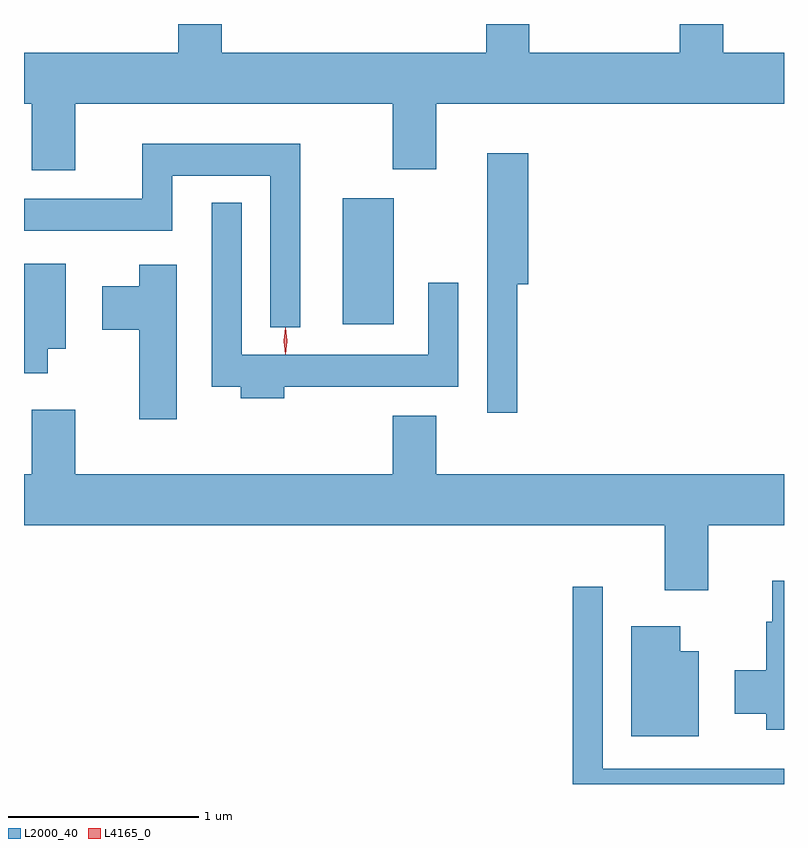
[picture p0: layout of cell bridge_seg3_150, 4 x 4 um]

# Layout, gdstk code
import gdstk
lib = gdstk.Library(unit=1e-6, precision=1e-09)
def R(c, l, rs):  # rectangles x0, y0, x1, y1
    for r in rs: c.add(gdstk.rectangle(r[:2], r[2:], *l))
def P(c, l, *ps):  # polygons
    for p in ps: c.add(gdstk.Polygon(p, *l))
L2000_40 = (2000, 40)
L4165_0 = (4165, 0)

bridge_seg3_150 = lib.new_cell('bridge_seg3_150')
R(bridge_seg3_150, L2000_40, [(877.926,1189.236,878.194,1189.899)])
P(bridge_seg3_150, L2000_40, [(876.249,1190.396),(876.291,1190.396),(876.291,1190.046),(876.519,1190.046),(876.519,1190.396),(878.191,1190.396),(878.191,1190.051),(878.419,1190.051),(878.419,1190.396),(880.249,1190.396),(880.249,1190.664),(879.929,1190.664),(879.929,1190.815),(879.701,1190.815),(879.701,1190.664),(878.909,1190.664),(878.909,1190.815),(878.681,1190.815),(878.681,1190.664),(877.289,1190.664),(877.289,1190.815),(877.061,1190.815),(877.061,1190.664),(876.249,1190.664)],
  [(877.704,1190.184),(876.871,1190.184),(876.871,1189.894),(876.249,1189.894),(876.249,1189.726),(877.029,1189.726),(877.029,1190.016),(877.546,1190.016),(877.546,1189.218),(877.704,1189.218)],
  [(878.844,1189.446),(878.904,1189.446),(878.904,1190.134),(878.686,1190.134),(878.686,1188.768),(878.844,1188.768)],
  [(877.619,1188.906),(878.534,1188.906),(878.534,1189.453),(878.376,1189.453),(878.376,1189.074),(877.394,1189.074),(877.394,1189.873),(877.236,1189.873),(877.236,1188.906),(877.391,1188.906),(877.391,1188.846),(877.619,1188.846)],
  [(876.374,1189.106),(876.469,1189.106),(876.469,1189.554),(876.249,1189.554),(876.249,1188.976),(876.374,1188.976)],
  [(877.054,1189.549),(876.856,1189.549),(876.856,1189.434),(876.661,1189.434),(876.661,1189.206),(876.856,1189.206),(876.856,1188.736),(877.054,1188.736)],
  [(879.849,1188.176),(880.249,1188.176),(880.249,1188.444),(878.419,1188.444),(878.419,1188.754),(878.191,1188.754),(878.191,1188.444),(876.519,1188.444),(876.519,1188.784),(876.291,1188.784),(876.291,1188.444),(876.249,1188.444),(876.249,1188.176),(879.621,1188.176),(879.621,1187.836),(879.849,1187.836)],
  [(880.249,1187.884),(880.186,1187.884),(880.186,1187.669),(880.156,1187.669),(880.156,1187.414),(879.991,1187.414),(879.991,1187.186),(880.156,1187.186),(880.156,1187.101),(880.249,1187.101)],
  [(880.249,1186.894),(879.294,1186.894),(879.294,1187.853),(879.136,1187.853),(879.136,1186.815),(880.249,1186.815)],
  [(879.799,1187.514),(879.704,1187.514),(879.704,1187.644),(879.446,1187.644),(879.446,1187.066),(879.799,1187.066)])
P(bridge_seg3_150, L4165_0, [(877.625,1189.077),(877.625,1189.078),(877.615,1189.147),(877.625,1189.216),(877.625,1189.216),(877.626,1189.216),(877.635,1189.147),(877.626,1189.078)],
  [(877.625,1189.079),(877.625,1189.08),(877.615,1189.146),(877.625,1189.212),(877.625,1189.213),(877.626,1189.212),(877.635,1189.146),(877.626,1189.08)])

lib.write_gds('bridge_seg3_150.gds')
